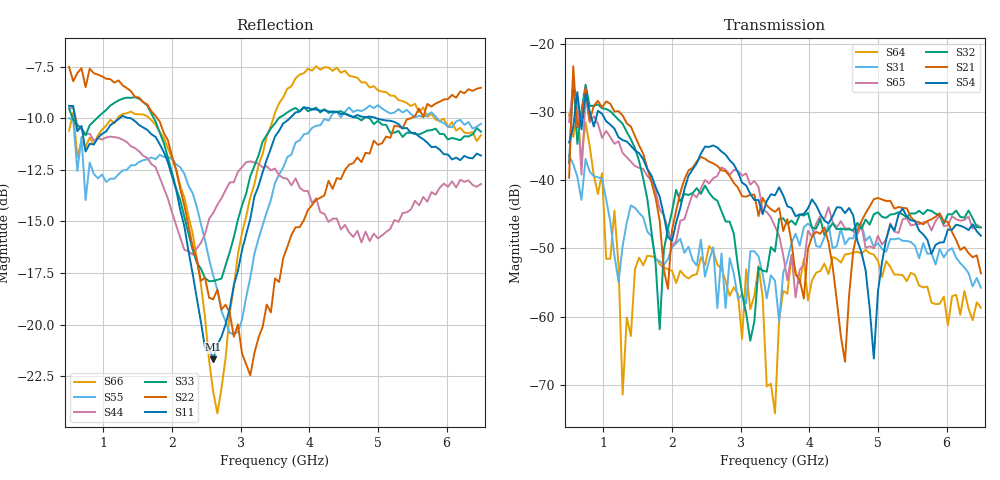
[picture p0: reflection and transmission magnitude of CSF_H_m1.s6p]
!Keysight Technologies,M9804A,MY58100912,A.14.10.03
!Date: Thursday, April 27, 2023 10:28:33
!Correction: S11(C  6-Port  )
!S12(C  6-Port  )
!S13(C  6-Port  )
!S14(C  6-Port  )
!S15(C  6-Port  )
!S16(C  6-Port  )
!S21(C  6-Port  )
!S22(C  6-Port  )
!S23(C  6-Port  )
!S24(C  6-Port  )
!S25(C  6-Port  )
!S26(C  6-Port  )
!S31(C  6-Port  )
!S32(C  6-Port  )
!S33(C  6-Port  )
!S34(C  6-Port  )
!S35(C  6-Port  )
!S36(C  6-Port  )
!S41(C  6-Port  )
!S42(C  6-Port  )
!S43(C  6-Port  )
!S44(C  6-Port  )
!S45(C  6-Port  )
!S46(C  6-Port  )
!S51(C  6-Port  )
!S52(C  6-Port  )
!S53(C  6-Port  )
!S54(C  6-Port  )
!S55(C  6-Port  )
!S56(C  6-Port  )
!S61(C  6-Port  )
!S62(C  6-Port  )
!S63(C  6-Port  )
!S64(C  6-Port  )
!S65(C  6-Port  )
!S66(C  6-Port  )
!S6P File: Measurement: :
# Hz S  RI  R 50
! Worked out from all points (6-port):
!   101 points, 500 MHz to 6.5 GHz, reference 50 ohm
!   strongest paths, dB at 500 MHz, 2 GHz, 3.5 GHz, 5 GHz, 6.5 GHz:
!     S54: -34.5, -48.9, -42.2, -56.3, -48.1
!     S21: -39.6, -47.2, -44.6, -42.6, -53.6
!     S32: -37.4, -44.5, -50.4, -44.7, -46.9
!     S65: -31.4, -49.7, -46.8, -48.1, -46.9
!     S31: -36.4, -49.8, -54.7, -49.2, -55.7
!     S64: -30.3, -53.3, -74.2, -51.8, -58.7
!   lowest |S11| = -21.7 dB at 2.6 GHz (marker M1), VSWR 1.18, Z = 42.6 + j2.02 ohm
!   |S11| at or under -10 dB: 588.9 MHz to 1.238 GHz (648.6 MHz wide, 71 % of centre); 1.388 GHz to 3.717 GHz (2.329 GHz wide, 91.3 % of centre); 4.972 GHz to end of sweep
